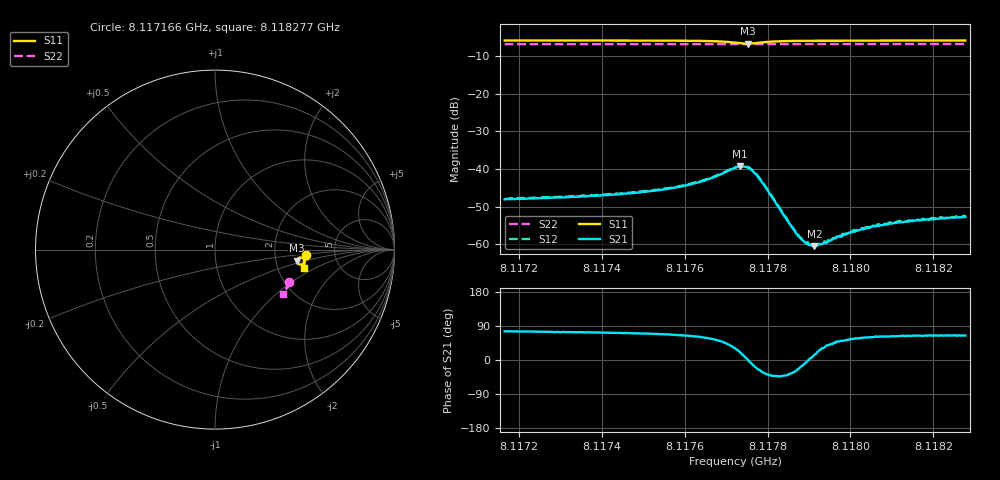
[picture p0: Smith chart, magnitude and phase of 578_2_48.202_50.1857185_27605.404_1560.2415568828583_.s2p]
#  HZ  S  RI  R  50.00
! Rohde & Schwarz Vector Network Analyzer
! Rohde-Schwarz,ZNB20-2Port,1311601062101988,3.16
! Created: UTC 3/20/2024, 12:01:58 PM
! freq[Hz]  re:S11  im:S11  re:S21  im:S21  re:S12  im:S12  re:S22  im:S22
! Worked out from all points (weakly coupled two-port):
!   401 points, 8.117166 GHz to 8.118277 GHz, reference 50 ohm
!   highest |S21| = -39.31 dB at 8.117733 GHz (marker M1); lowest = -60.5 dB at 8.117913 GHz (marker M2)
!   lowest |S11| = -6.7 dB at 8.117752 GHz (marker M3), VSWR 2.71, Z = 132 - j20.5 ohm
!   |S11| at or under -10 dB: nowhere
!   |S22| runs from -6.9 to -6.8 dB; largest |S21 - S12| = 0.00042
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8.1171657e9  0.5059 -0.028  0.000987 0.00382  0.00105 0.00389  0.4149 -0.1794
8.1173519e9  0.5043 -0.0436  0.00122 0.00413  0.00132 0.00425  0.4099 -0.1917
8.1174491e9  0.5029 -0.0523  0.00152 0.00444  0.00149 0.0045  0.4072 -0.1977
8.1175381e9  0.5007 -0.0611  0.00192 0.00489  0.00205 0.00495  0.4046 -0.2035
8.1176048e9  0.4975 -0.0695  0.00263 0.00549  0.0027 0.00559  0.4024 -0.2078
8.1176409e9  0.494 -0.0747  0.00335 0.00594  0.00346 0.00607  0.4013 -0.2102
8.1177215e9  0.4679 -0.0815  0.00883 0.0053  0.00908 0.00539  0.3976 -0.2151
8.1177326e9  0.4615 -0.0768  0.0101 0.00393  0.0103 0.00404  0.3971 -0.2154
8.1177521e9  0.4566 -0.0612  0.0104 0.000247  0.0106 6.44e-05  0.3964 -0.2157
8.1177687e9  0.4634 -0.0486  0.00841 -0.00263  0.00872 -0.00258  0.3964 -0.2165
8.1177854e9  0.4747 -0.0439  0.00585 -0.00345  0.006 -0.00361  0.3964 -0.2173
8.1178521e9  0.4958 -0.0562  0.00151 -0.00116  0.0015 -0.0012  0.3953 -0.2222
8.1178771e9  0.4976 -0.061  0.00117 -0.000454  0.00115 -0.000477  0.3945 -0.2238
8.1178966e9  0.4984 -0.0642  0.00101 -4.75e-05  0.00108 -6.4e-05  0.3939 -0.2252
8.1179077e9  0.4986 -0.0659  0.000943 0.000125  0.00103 0.000149  0.3936 -0.2258
8.1179132e9  0.4988 -0.0667  0.000918 0.000229  0.000953 0.000249  0.3934 -0.2261
8.1179216e9  0.4989 -0.0678  0.000913 0.000376  0.000913 0.000344  0.393 -0.2267
8.1180022e9  0.499 -0.0774  0.000813 0.00119  0.000828 0.00119  0.3904 -0.2319
8.118055e9  0.4985 -0.0827  0.000861 0.00152  0.000874 0.00155  0.3887 -0.2351
8.1180939e9  0.4982 -0.0864  0.000873 0.00165  0.000915 0.00173  0.3873 -0.2376
8.1182106e9  0.4964 -0.0964  0.000958 0.00195  0.000948 0.00209  0.3834 -0.2448
8.1182773e9  0.4954 -0.1017  0.000998 0.00209  0.000994 0.0021  0.3811 -0.2489
